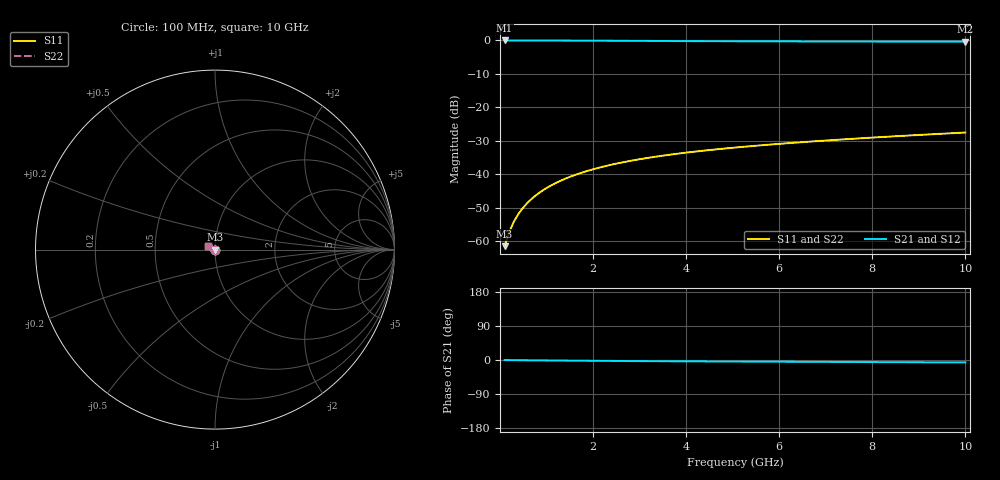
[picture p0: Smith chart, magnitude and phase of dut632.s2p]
! Touchstone file exported from HFSS 2024.1.0
!  File:  C:/UserFiles/LocalFiles/RDL_TSV_Batchsim/temp_TSV1_632_1779790253.aedt
!  Generated:  06:19:57 PM May 26, 2026
!  Design:  TSV1
!  Project:  temp_TSV1_632_1779790253
!  Setup:  Setup1
!  Solution:  Sweep
! Variables:
!  dtsv = 5.26um
!  hbump = 3um
!  htsv = 97.88um
!  lrdl = 252.1521522um
!  p = 40
!  p1 = 43.68um
!  t = 500um
!  trdl = 3um
!  wrdl = 24.89489489um
# GHz S MA R 50.000000
! Terminal data exported
! Port[1] = TSV22_T1
! Port[2] = TSV22_T2
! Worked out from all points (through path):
!   100 points, 100 MHz to 10 GHz, reference 50 ohm
!   highest |S21| = -0.01 dB at 100 MHz (marker M1); lowest = -0.4 dB at 10 GHz (marker M2)
!   lowest |S11| = -61.4 dB at 100 MHz (marker M3), VSWR 1.00, Z = 50.1 - j0.0641 ohm
!   |S11| at or under -10 dB: start of sweep to end of sweep
!   |S22| runs from -61.4 to -27.5 dB; largest |S21 - S12| = 6.5e-15
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0.1  0.0008473 -49.0  0.9994 -0.1  0.9994 -0.1  0.0008473 -49.0
! Gamma 0 0 0 0
! Port Impedance 50 0 50 0
0.2  0.001385 -69.1  0.9993 -0.2  0.9993 -0.2  0.001385 -69.1
0.3  0.001979 -78.9  0.9992 -0.3  0.9992 -0.3  0.001979 -78.9
0.4  0.002588 -85.0  0.999 -0.5  0.999 -0.5  0.002588 -85.0
0.5  0.003203 -89.6  0.9988 -0.6  0.9988 -0.6  0.003203 -89.6
0.6  0.003818 -93.4  0.9986 -0.7  0.9986 -0.7  0.003818 -93.4
0.7  0.004431 -96.6  0.9983 -0.8  0.9983 -0.8  0.004431 -96.6
0.8  0.005042 -99.6  0.9979 -0.9  0.9979 -0.9  0.005042 -99.6
0.9  0.005648 -102.3  0.9976 -1.0  0.9976 -1.0  0.005648 -102.3
1.1  0.006847 -107.3  0.9967 -1.2  0.9967 -1.2  0.006847 -107.3
1.4  0.008599 -114.1  0.9952 -1.5  0.9952 -1.5  0.008599 -114.1
1.6  0.009734 -118.4  0.9941 -1.7  0.9941 -1.7  0.009734 -118.4
1.8  0.01084 -122.4  0.9929 -1.9  0.9929 -1.9  0.01084 -122.4
2.1  0.01244 -128.2  0.991 -2.2  0.991 -2.2  0.01244 -128.2
2.5  0.01446 -135.4  0.9883 -2.5  0.9883 -2.5  0.01446 -135.4
2.9  0.01637 -142.2  0.9856 -2.8  0.9856 -2.8  0.01637 -142.2
3.4  0.01861 -149.9  0.9823 -3.1  0.9823 -3.1  0.01861 -149.9
4.2  0.02191 -161.1  0.9773 -3.6  0.9773 -3.6  0.02191 -161.1
5.1  0.02533 -172.0  0.9725 -4.1  0.9725 -4.1  0.02533 -172.0
6.7  0.03099 172.3  0.9659 -4.9  0.9659 -4.9  0.03099 172.3
8.4  0.03677 159.2  0.9608 -5.6  0.9608 -5.6  0.03676 159.2
10  0.04216 149.5  0.9574 -6.4  0.9574 -6.4  0.04216 149.5
